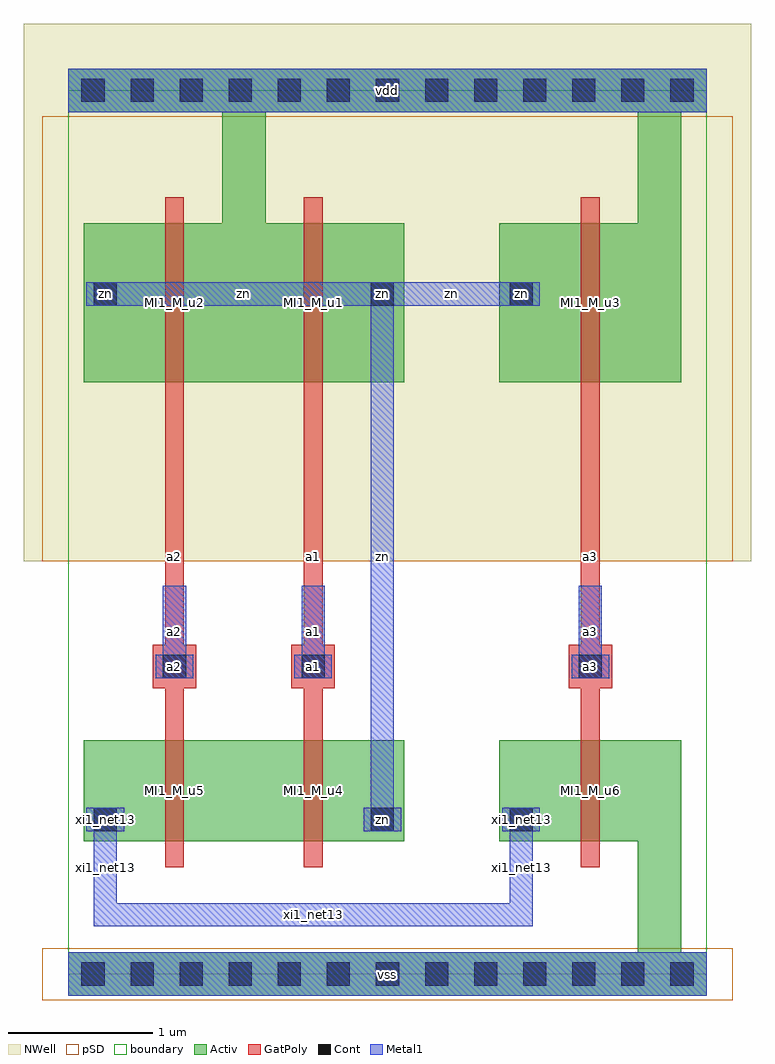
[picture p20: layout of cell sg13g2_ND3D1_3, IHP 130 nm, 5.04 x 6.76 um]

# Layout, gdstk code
import gdstk
lib = gdstk.Library(unit=1e-6, precision=1e-09)
def R(c, l, rs):  # rectangles x0, y0, x1, y1
    for r in rs: c.add(gdstk.rectangle(r[:2], r[2:], *l))
def A(c, l, x, y, w, h, nx, ny, dx, dy):  # array of equal rectangles
    R(c, l, [(x+i*dx, y+j*dy, x+i*dx+w, y+j*dy+h) for i in range(nx) for j in range(ny)])
Activ = (1, 0)
GatPoly = (5, 0)
Cont = (6, 0)
Metal1 = (8, 0)
pSD = (14, 0)
NWell = (31, 0)
TEXT = (63, 0)
boundary = (189, 4)

sg13g2_nd3d1_3 = lib.new_cell('sg13g2_ND3D1_3')
R(sg13g2_nd3d1_3, Activ, [(0,-0.15,4.42,0.15), (3.945,0.15,4.245,1.07), (0.105,0.92,1.365,1.62), (0.105,0.92,0.405,1.22), (1.065,0.92,2.325,1.62), (2.025,0.92,2.325,1.22), (2.985,0.92,4.245,1.62), (2.985,0.92,3.285,1.22), (0.105,4.1,1.365,5.2), (1.065,4.1,2.325,5.2), (2.985,4.1,4.245,5.2), (0.105,4.56,0.405,4.86), (2.025,4.56,2.325,4.86), (2.985,4.56,3.285,4.86), (1.065,4.71,1.365,5.97), (3.945,4.71,4.245,5.97), (0,5.97,4.42,6.27)])
R(sg13g2_nd3d1_3, GatPoly, [(0.67,0.74,0.8,1.8), (1.63,0.74,1.76,1.8), (3.55,0.74,3.68,1.8), (0.67,1.005,0.8,4.775), (1.63,1.005,1.76,4.775), (3.55,1.005,3.68,4.775), (0.585,1.98,0.885,2.28), (1.545,1.98,1.845,2.28), (3.465,1.98,3.765,2.28), (0.67,3.92,0.8,5.38), (1.63,3.92,1.76,5.38), (3.55,3.92,3.68,5.38)])
A(sg13g2_nd3d1_3, Cont, 0.09, -0.08, 0.16, 0.16, 13, 2, 0.34, 6.12)
R(sg13g2_nd3d1_3, Cont, [(0.175,0.99,0.335,1.15), (2.095,0.99,2.255,1.15), (3.055,0.99,3.215,1.15), (0.655,2.05,0.815,2.21), (1.615,2.05,1.775,2.21), (3.535,2.05,3.695,2.21), (0.175,4.63,0.335,4.79), (2.095,4.63,2.255,4.79), (3.055,4.63,3.215,4.79)])
R(sg13g2_nd3d1_3, Metal1, [(0,-0.15,4.42,0.15), (0.175,0.33,0.335,1.15), (0.175,0.33,3.215,0.49), (3.055,0.33,3.215,1.15), (0.125,0.99,0.385,1.15), (2.045,0.99,2.305,1.15), (2.095,0.99,2.255,4.79), (3.005,0.99,3.265,1.15), (0.605,2.05,0.865,2.21), (0.655,2.05,0.815,2.69), (1.565,2.05,1.825,2.21), (1.615,2.05,1.775,2.69), (3.485,2.05,3.745,2.21), (3.535,2.05,3.695,2.69), (0.125,4.63,0.385,4.79), (0.175,4.63,2.255,4.79), (2.045,4.63,2.305,4.79), (2.095,4.63,3.215,4.79), (3.005,4.63,3.265,4.79), (0,5.97,4.42,6.27)])
R(sg13g2_nd3d1_3, pSD, [(-0.18,-0.18,4.6,0.18), (-0.18,2.86,4.6,5.94)])
R(sg13g2_nd3d1_3, NWell, [(-0.31,2.86,4.73,6.58)])
R(sg13g2_nd3d1_3, boundary, [(0,0,4.42,6.12)])
sg13g2_nd3d1_3.add(gdstk.FlexPath([(0.105,0.41),(4.245,0.41)], 0, ends="flush", simple_path=True, layer=63, datatype=0))  # TEXT
sg13g2_nd3d1_3.add(gdstk.FlexPath([(0.105,1.07),(4.245,1.07)], 0, ends="flush", simple_path=True, layer=63, datatype=0))  # TEXT
sg13g2_nd3d1_3.add(gdstk.FlexPath([(0.105,1.47),(4.245,1.47)], 0, ends="flush", simple_path=True, layer=63, datatype=0))  # TEXT
sg13g2_nd3d1_3.add(gdstk.FlexPath([(0.105,2.13),(4.245,2.13)], 0, ends="flush", simple_path=True, layer=63, datatype=0))  # TEXT
sg13g2_nd3d1_3.add(gdstk.FlexPath([(0.105,2.61),(4.245,2.61)], 0, ends="flush", simple_path=True, layer=63, datatype=0))  # TEXT
sg13g2_nd3d1_3.add(gdstk.FlexPath([(0.105,3.09),(4.245,3.09)], 0, ends="flush", simple_path=True, layer=63, datatype=0))  # TEXT
sg13g2_nd3d1_3.add(gdstk.FlexPath([(0.105,3.57),(4.245,3.57)], 0, ends="flush", simple_path=True, layer=63, datatype=0))  # TEXT
sg13g2_nd3d1_3.add(gdstk.FlexPath([(0.105,4.25),(4.245,4.25)], 0, ends="flush", simple_path=True, layer=63, datatype=0))  # TEXT
sg13g2_nd3d1_3.add(gdstk.FlexPath([(0.105,4.71),(4.245,4.71)], 0, ends="flush", simple_path=True, layer=63, datatype=0))  # TEXT
sg13g2_nd3d1_3.add(gdstk.FlexPath([(0.105,5.05),(4.245,5.05)], 0, ends="flush", simple_path=True, layer=63, datatype=0))  # TEXT
sg13g2_nd3d1_3.add(gdstk.FlexPath([(0.105,5.71),(4.245,5.71)], 0, ends="flush", simple_path=True, layer=63, datatype=0))  # TEXT
sg13g2_nd3d1_3.add(gdstk.FlexPath([(0.255,0.15),(0.255,5.97)], 0, ends="flush", simple_path=True, layer=63, datatype=0))  # TEXT
sg13g2_nd3d1_3.add(gdstk.FlexPath([(0.735,0.15),(0.735,5.97)], 0, ends="flush", simple_path=True, layer=63, datatype=0))  # TEXT
sg13g2_nd3d1_3.add(gdstk.FlexPath([(1.215,0.15),(1.215,5.97)], 0, ends="flush", simple_path=True, layer=63, datatype=0))  # TEXT
sg13g2_nd3d1_3.add(gdstk.FlexPath([(1.695,0.15),(1.695,5.97)], 0, ends="flush", simple_path=True, layer=63, datatype=0))  # TEXT
sg13g2_nd3d1_3.add(gdstk.FlexPath([(2.175,0.15),(2.175,5.97)], 0, ends="flush", simple_path=True, layer=63, datatype=0))  # TEXT
sg13g2_nd3d1_3.add(gdstk.FlexPath([(2.655,0.15),(2.655,5.97)], 0, ends="flush", simple_path=True, layer=63, datatype=0))  # TEXT
sg13g2_nd3d1_3.add(gdstk.FlexPath([(3.135,0.15),(3.135,5.97)], 0, ends="flush", simple_path=True, layer=63, datatype=0))  # TEXT
sg13g2_nd3d1_3.add(gdstk.FlexPath([(3.615,0.15),(3.615,5.97)], 0, ends="flush", simple_path=True, layer=63, datatype=0))  # TEXT
sg13g2_nd3d1_3.add(gdstk.FlexPath([(4.095,0.15),(4.095,5.97)], 0, ends="flush", simple_path=True, layer=63, datatype=0))  # TEXT
sg13g2_nd3d1_3.add(gdstk.Label('zn', (2.175,1.07), layer=6, texttype=0))
sg13g2_nd3d1_3.add(gdstk.Label('zn', (3.135,4.71), layer=6, texttype=0))
sg13g2_nd3d1_3.add(gdstk.Label('zn', (2.175,4.71), layer=6, texttype=0))
sg13g2_nd3d1_3.add(gdstk.Label('zn', (0.255,4.71), layer=6, texttype=0))
sg13g2_nd3d1_3.add(gdstk.Label('a1', (1.695,2.13), layer=6, texttype=0))
sg13g2_nd3d1_3.add(gdstk.Label('a2', (0.735,2.13), layer=6, texttype=0))
sg13g2_nd3d1_3.add(gdstk.Label('xi1_net13', (0.255,1.07), layer=6, texttype=0))
sg13g2_nd3d1_3.add(gdstk.Label('xi1_net13', (3.135,1.07), layer=6, texttype=0))
sg13g2_nd3d1_3.add(gdstk.Label('a3', (3.615,2.13), layer=6, texttype=0))
sg13g2_nd3d1_3.add(gdstk.Label('xi1_net13', (0.255,1.07), layer=8, texttype=0))
sg13g2_nd3d1_3.add(gdstk.Label('xi1_net13', (3.135,1.07), layer=8, texttype=0))
sg13g2_nd3d1_3.add(gdstk.Label('xi1_net13', (0.255,0.74), layer=8, texttype=0))
sg13g2_nd3d1_3.add(gdstk.Label('xi1_net13', (1.695,0.41), layer=8, texttype=0))
sg13g2_nd3d1_3.add(gdstk.Label('xi1_net13', (3.135,0.74), layer=8, texttype=0))
sg13g2_nd3d1_3.add(gdstk.Label('zn', (2.175,1.07), layer=8, texttype=25))
sg13g2_nd3d1_3.add(gdstk.Label('zn', (3.135,4.71), layer=8, texttype=25))
sg13g2_nd3d1_3.add(gdstk.Label('zn', (2.175,4.71), layer=8, texttype=25))
sg13g2_nd3d1_3.add(gdstk.Label('zn', (0.255,4.71), layer=8, texttype=25))
sg13g2_nd3d1_3.add(gdstk.Label('zn', (2.175,2.89), layer=8, texttype=25))
sg13g2_nd3d1_3.add(gdstk.Label('zn', (1.215,4.71), layer=8, texttype=25))
sg13g2_nd3d1_3.add(gdstk.Label('zn', (2.655,4.71), layer=8, texttype=25))
sg13g2_nd3d1_3.add(gdstk.Label('a1', (1.695,2.13), layer=8, texttype=25))
sg13g2_nd3d1_3.add(gdstk.Label('a1', (1.695,2.37), layer=8, texttype=25))
sg13g2_nd3d1_3.add(gdstk.Label('a2', (0.735,2.13), layer=8, texttype=25))
sg13g2_nd3d1_3.add(gdstk.Label('a2', (0.735,2.37), layer=8, texttype=25))
sg13g2_nd3d1_3.add(gdstk.Label('a3', (3.615,2.13), layer=8, texttype=25))
sg13g2_nd3d1_3.add(gdstk.Label('a3', (3.615,2.37), layer=8, texttype=25))
sg13g2_nd3d1_3.add(gdstk.Label('vss', (2.21,0), layer=8, texttype=25))
sg13g2_nd3d1_3.add(gdstk.Label('vdd', (2.21,6.12), layer=8, texttype=25))
sg13g2_nd3d1_3.add(gdstk.Label('MI1_M_u4', (1.695,1.27), layer=1, texttype=0))
sg13g2_nd3d1_3.add(gdstk.Label('MI1_M_u5', (0.735,1.27), layer=1, texttype=0))
sg13g2_nd3d1_3.add(gdstk.Label('MI1_M_u6', (3.615,1.27), layer=1, texttype=0))
sg13g2_nd3d1_3.add(gdstk.Label('MI1_M_u3', (3.615,4.65), layer=1, texttype=0))
sg13g2_nd3d1_3.add(gdstk.Label('MI1_M_u1', (1.695,4.65), layer=1, texttype=0))
sg13g2_nd3d1_3.add(gdstk.Label('MI1_M_u2', (0.735,4.65), layer=1, texttype=0))
sg13g2_nd3d1_3.add(gdstk.Label('zn', (2.175,1.07), layer=1, texttype=0))
sg13g2_nd3d1_3.add(gdstk.Label('zn', (3.135,4.71), layer=1, texttype=0))
sg13g2_nd3d1_3.add(gdstk.Label('zn', (2.175,4.71), layer=1, texttype=0))
sg13g2_nd3d1_3.add(gdstk.Label('zn', (0.255,4.71), layer=1, texttype=0))
sg13g2_nd3d1_3.add(gdstk.Label('xi1_net13', (0.255,1.07), layer=1, texttype=0))
sg13g2_nd3d1_3.add(gdstk.Label('xi1_net13', (3.135,1.07), layer=1, texttype=0))
sg13g2_nd3d1_3.add(gdstk.Label('a1', (1.695,2.89), layer=5, texttype=0))
sg13g2_nd3d1_3.add(gdstk.Label('a1', (1.695,2.13), layer=5, texttype=0))
sg13g2_nd3d1_3.add(gdstk.Label('a2', (0.735,2.89), layer=5, texttype=0))
sg13g2_nd3d1_3.add(gdstk.Label('a2', (0.735,2.13), layer=5, texttype=0))
sg13g2_nd3d1_3.add(gdstk.Label('a3', (3.615,2.89), layer=5, texttype=0))
sg13g2_nd3d1_3.add(gdstk.Label('a3', (3.615,2.13), layer=5, texttype=0))

lib.write_gds('sg13g2_ND3D1_3.gds')
